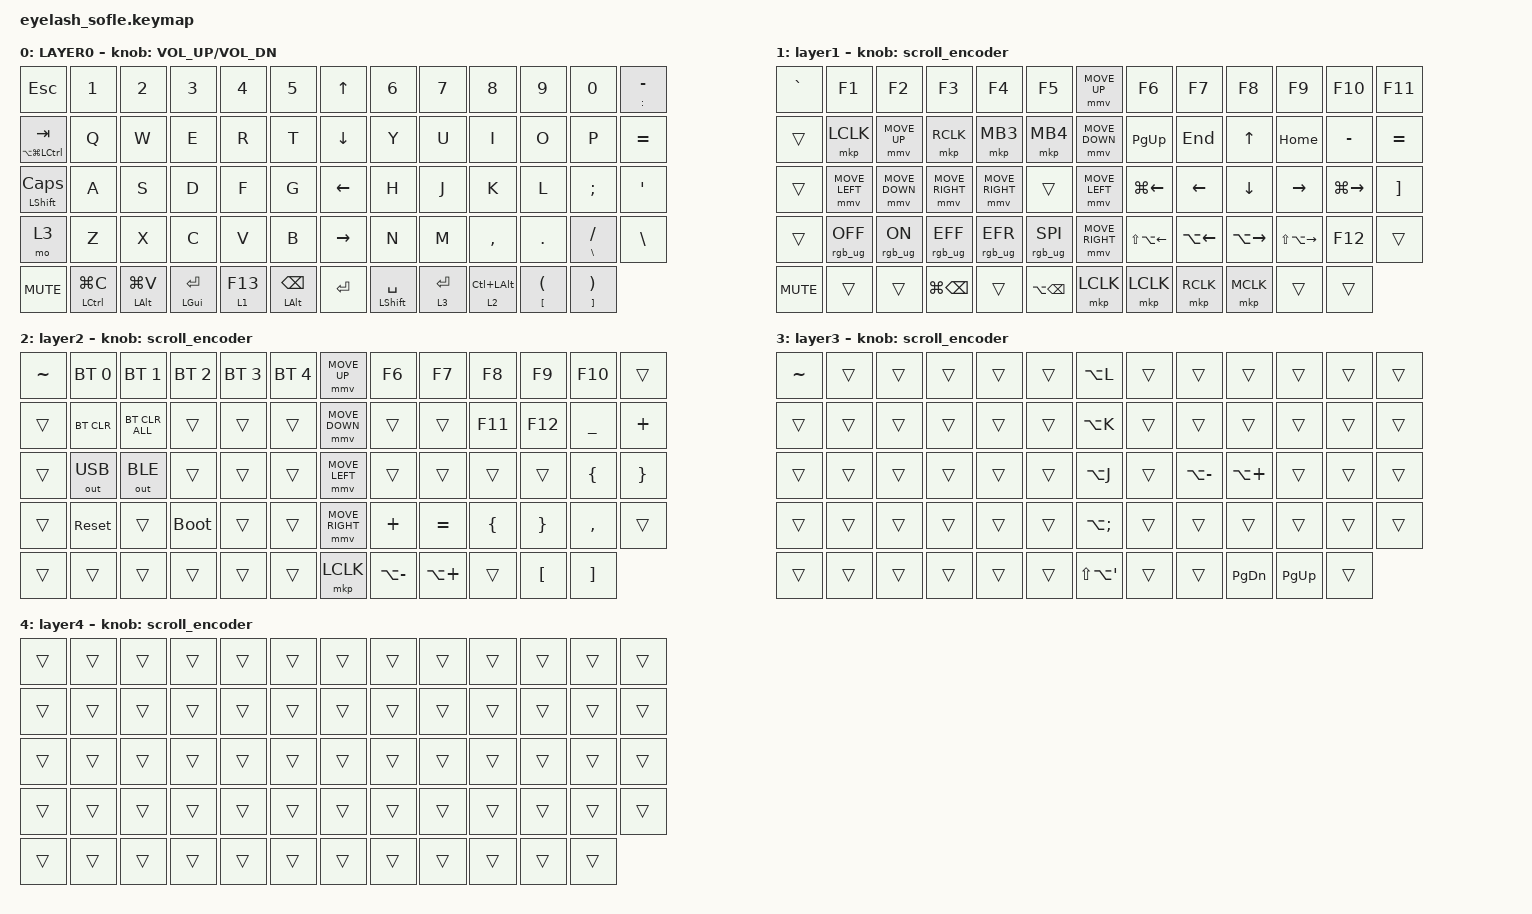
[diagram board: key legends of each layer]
#define ZMK_POINTING_DEFAULT_MOVE_VAL 2000  // 600
#define ZMK_POINTING_DEFAULT_SCRL_VAL 50   // 10

#include <input/processors.dtsi>
#include <zephyr/dt-bindings/input/input-event-codes.h>
#include <behaviors.dtsi>
#include <dt-bindings/zmk/bt.h>
#include <dt-bindings/zmk/keys.h>
#include <dt-bindings/zmk/outputs.h>
#include <dt-bindings/zmk/pointing.h>
#include <dt-bindings/zmk/rgb.h>

&mmv_input_listener { input-processors = <&zip_xy_scaler 3 2>; };

&msc_input_listener { input-processors = <&zip_scroll_scaler 2 1>; };

&msc {
    acceleration-exponent = <1>;      // 0
    time-to-max-speed-ms = <100>;       // 300
    delay-ms = <0>;                   // 0
};

&mmv {
    time-to-max-speed-ms = <500>;
    acceleration-exponent = <2>;
    trigger-period-ms = <9>;
};

&soft_off { hold-time-ms = <2000>; };

/ {
    scroll_encoder: scroll_encoder {
        compatible = "zmk,behavior-sensor-rotate";
        #sensor-binding-cells = <0>;
        bindings = <&msc SCRL_DOWN>, <&msc SCRL_UP>;

        tap-ms = <100>;
    };

    custom_tapprefer: custom_tapprefer {
        compatible = "zmk,behavior-hold-tap";
        label = "CUSTOM_TAPPREFER";
        bindings = <&kp>, <&kp>;

        #binding-cells = <2>;
        tapping-term-ms = <250>;
        quick-tap-ms = <175>;
        flavor = "tap-preferred";
    };

    behaviors {
        mmv_slow: mmv_slow {
            compatible = "zmk,behavior-mouse-move";
            #binding-cells = <1>;
            delay-ms = <0>;
            time-to-max-speed-ms = <500>;
            acceleration-exponent = <1>;
        };

        mmv_fast: mmv_fast {
            compatible = "zmk,behavior-mouse-move";
            #binding-cells = <1>;
            delay-ms = <0>;
            time-to-max-speed-ms = <100>;
            acceleration-exponent = <2>;
        };
    };

    combos {
        compatible = "zmk,combos";

        softoff {
            bindings = <&soft_off>;
            key-positions = <14 28 40>;
        };
    };

    macros {
        superwhisper: superwhisper {
            compatible = "zmk,behavior-macro";
            #binding-cells = <0>;
            bindings = <&kp LEFT_ALT &kp LEFT_CONTROL>;
            label = "SUPERWHISPER";
        };
    };

    keymap {
        compatible = "zmk,keymap";

        layer0 {
            bindings = <
&kp ESC                                     &kp N1           &kp N2              &kp N3              &kp N4     &kp N5                    &kp UP_ARROW     &kp N6                              &kp N7     &kp N8              &kp N9                 &kp N0                               &mt COLON MINUS
&custom_tapprefer LA(LG(LEFT_CONTROL)) TAB  &kp Q            &kp W               &kp E               &kp R      &kp T                     &kp DOWN_ARROW   &kp Y                               &kp U      &kp I               &kp O                  &kp P                                &kp EQUAL
&mt LEFT_SHIFT CAPS                         &kp A            &kp S               &kp D               &kp F      &kp G                     &kp LEFT_ARROW   &kp H                               &kp J      &kp K               &kp L                  &kp SEMI                             &kp APOS
&mo 3                                       &kp Z            &kp X               &kp C               &kp V      &kp B                     &kp RIGHT_ARROW  &kp N                               &kp M      &kp COMMA           &kp DOT                &mt BACKSLASH FSLH                   &kp BACKSLASH
&kp C_MUTE                                  &mt LCTRL LG(C)  &mt LEFT_ALT LG(V)  &mt LEFT_GUI ENTER  &lt 1 F13  &mt LEFT_ALT BACKSPACE    &kp ENTER        &custom_tapprefer LEFT_SHIFT SPACE  &lt 3 RET  &lt 2 LC(LEFT_ALT)  &mt LEFT_BRACKET LPAR  &mt RIGHT_BRACKET RIGHT_PARENTHESIS
            >;

            sensor-bindings = <&inc_dec_kp C_VOLUME_UP C_VOL_DN>;
            display-name = "LAYER0";
        };

        layer_1 {
            bindings = <
&kp GRAVE   &kp F1           &kp F2          &kp F3             &kp F4           &kp F5               &mmv MOVE_UP     &kp F6              &kp F7        &kp F8         &kp F9             &kp F10        &kp F11
&trans      &mkp LCLK        &mmv MOVE_UP    &mkp RCLK          &mkp MB3         &mkp MB4             &mmv MOVE_DOWN   &kp PG_UP           &kp END       &kp UP         &kp HOME           &kp MINUS      &kp EQUAL
&trans      &mmv MOVE_LEFT   &mmv MOVE_DOWN  &mmv MOVE_RIGHT    &mmv MOVE_RIGHT  &trans               &mmv MOVE_LEFT   &kp LG(LEFT_ARROW)  &kp LEFT      &kp DOWN       &kp RIGHT          &kp LG(RIGHT)  &kp RIGHT_BRACKET
&trans      &rgb_ug RGB_OFF  &rgb_ug RGB_ON  &rgb_ug RGB_EFF    &rgb_ug RGB_EFR  &rgb_ug RGB_SPI      &mmv MOVE_RIGHT  &kp LS(LA(LEFT))    &kp LA(LEFT)  &kp LA(RIGHT)  &kp LS(LA(RIGHT))  &kp F12        &trans
&kp C_MUTE  &trans           &trans          &kp LG(BACKSPACE)  &trans           &kp LA(BACKSPACE)    &mkp LCLK        &mkp LCLK           &mkp RCLK     &mkp MCLK      &trans             &trans
            >;

            display-name = "layer1";
            sensor-bindings = <&scroll_encoder>;
        };

        layer_2 {
            bindings = <
&kp TILDE  &bt BT_SEL 0  &bt BT_SEL 1    &bt BT_SEL 2  &bt BT_SEL 3  &bt BT_SEL 4    &mmv MOVE_UP     &kp F6         &kp F7        &kp F8          &kp F9            &kp F10            &trans
&trans     &bt BT_CLR    &bt BT_CLR_ALL  &trans        &trans        &trans          &mmv MOVE_DOWN   &trans         &trans        &kp F11         &kp F12           &kp UNDER          &kp PLUS
&trans     &out OUT_USB  &out OUT_BLE    &trans        &trans        &trans          &mmv MOVE_LEFT   &trans         &trans        &trans          &trans            &kp LBRC           &kp RBRC
&trans     &sys_reset    &trans          &bootloader   &trans        &trans          &mmv MOVE_RIGHT  &kp PLUS       &kp EQUAL     &kp LEFT_BRACE  &kp RIGHT_BRACE   &kp COMMA          &trans
&trans     &trans        &trans          &trans        &trans        &trans          &mkp LCLK        &kp LA(MINUS)  &kp LA(PLUS)  &trans          &kp LEFT_BRACKET  &kp RIGHT_BRACKET
            >;

            display-name = "layer2";
            sensor-bindings = <&scroll_encoder>;
        };

        layer_3 {
            bindings = <
&kp TILDE  &trans  &trans  &trans  &trans  &trans    &kp LA(L)          &trans  &trans         &trans         &trans     &trans  &trans
&trans     &trans  &trans  &trans  &trans  &trans    &kp LA(K)          &trans  &trans         &trans         &trans     &trans  &trans
&trans     &trans  &trans  &trans  &trans  &trans    &kp LA(J)          &trans  &kp LA(MINUS)  &kp LA(PLUS)   &trans     &trans  &trans
&trans     &trans  &trans  &trans  &trans  &trans    &kp LA(SEMICOLON)  &trans  &trans         &trans         &trans     &trans  &trans
&trans     &trans  &trans  &trans  &trans  &trans    &kp LS(LA(SQT))    &trans  &trans         &kp PAGE_DOWN  &kp PG_UP  &trans
            >;

            display-name = "layer3";
            sensor-bindings = <&scroll_encoder>;
        };

        layer_4 {
            bindings = <
&trans  &trans  &trans  &trans  &trans  &trans    &trans  &trans  &trans  &trans  &trans  &trans  &trans
&trans  &trans  &trans  &trans  &trans  &trans    &trans  &trans  &trans  &trans  &trans  &trans  &trans
&trans  &trans  &trans  &trans  &trans  &trans    &trans  &trans  &trans  &trans  &trans  &trans  &trans
&trans  &trans  &trans  &trans  &trans  &trans    &trans  &trans  &trans  &trans  &trans  &trans  &trans
&trans  &trans  &trans  &trans  &trans  &trans    &trans  &trans  &trans  &trans  &trans  &trans
            >;

            display-name = "layer4";
            sensor-bindings = <&scroll_encoder>;
        };
    };
};
